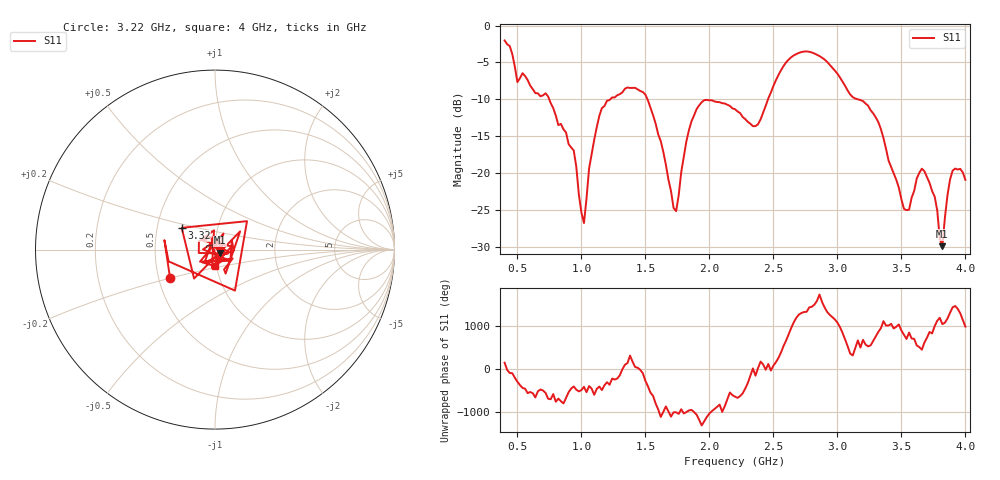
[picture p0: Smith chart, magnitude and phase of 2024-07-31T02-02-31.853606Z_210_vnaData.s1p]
!Created with skrf (http://scikit-rf.org).
# Hz S RI R 50.0
!freq ReS11 ImS11
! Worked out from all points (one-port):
!   181 points, 400 MHz to 4 GHz, reference 50 ohm
!   lowest |S11| = -29.9 dB at 3.82 GHz (marker M1), VSWR 1.07, Z = 52.8 - j1.81 ohm
!   |S11| at or under -10 dB: 748.8 MHz to 1.225 GHz (476.2 MHz wide, 48.2 % of centre); 1.516 GHz to 2.457 GHz (941.1 MHz wide, 47.4 % of centre); 3.162 GHz to end of sweep
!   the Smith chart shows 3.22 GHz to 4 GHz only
!   S11 on the Smith chart (normalised r, x): 3.22 GHz: 0.57, -0.20; 3.32 GHz: 0.67, +0.17; 4 GHz: 0.98, -0.18
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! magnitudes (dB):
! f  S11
! 400 MHz  -2.0
! 500 MHz  -7.7
! 720 MHz  -9.2
! 860 MHz  -14.0
! 940 MHz  -16.9
! 1.02 GHz  -26.7
! 1.06 GHz  -19.4
! 1.14 GHz  -12.2
! 1.3 GHz  -9.3
! 1.5 GHz  -9.4
! 1.62 GHz  -15.6
! 1.72 GHz  -24.7
! 1.76 GHz  -23.0
! 1.82 GHz  -15.7
! 1.9 GHz  -11.3
! 2.2 GHz  -11.3
! 2.38 GHz  -13.4
! 2.66 GHz  -4.0
! 2.88 GHz  -4.4
! 3.1 GHz  -9.3
! 3.22 GHz  -10.6
! 3.32 GHz  -13.1
! 3.56 GHz  -24.9
! 3.68 GHz  -19.7
! 3.76 GHz  -23.2
! 3.82 GHz  -29.9
! 3.9 GHz  -19.6
! 4 GHz  -20.9
